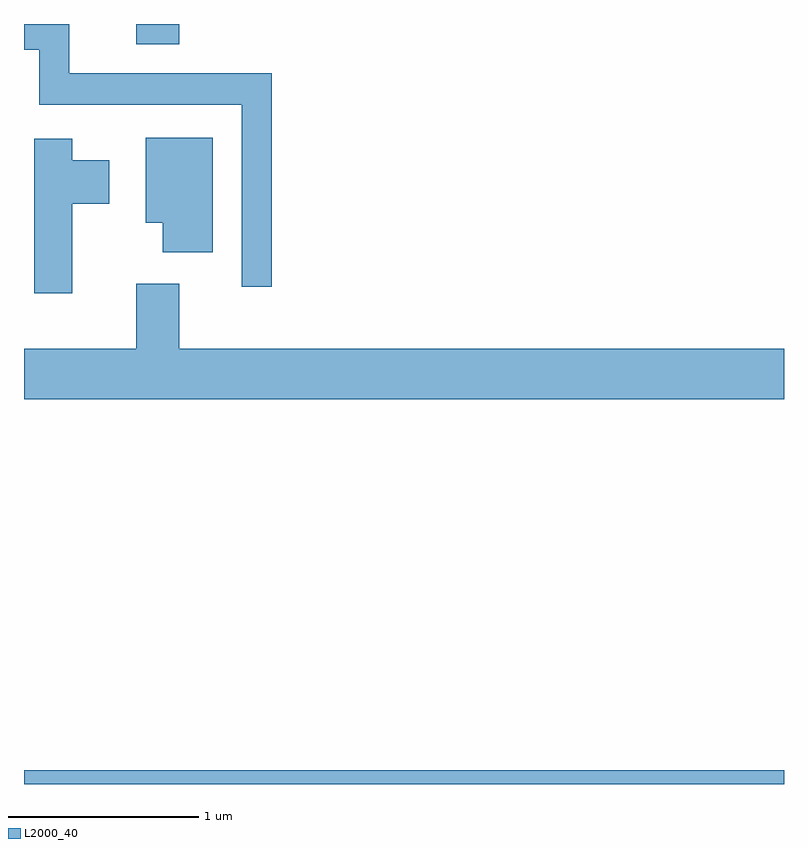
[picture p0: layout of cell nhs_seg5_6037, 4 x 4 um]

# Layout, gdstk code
import gdstk
lib = gdstk.Library(unit=1e-6, precision=1e-09)
def R(c, l, rs):  # rectangles x0, y0, x1, y1
    for r in rs: c.add(gdstk.rectangle(r[:2], r[2:], *l))
def P(c, l, *ps):  # polygons
    for p in ps: c.add(gdstk.Polygon(p, *l))
L2000_40 = (2000, 40)

nhs_seg5_6037 = lib.new_cell('nhs_seg5_6037')
R(nhs_seg5_6037, L2000_40, [(363.611,1488.072,367.611,1488.144), (364.201,1491.966,364.429,1492.072)])
P(nhs_seg5_6037, L2000_40, [(364.914,1491.814),(363.849,1491.814),(363.849,1492.072),(363.611,1492.072),(363.611,1491.936),(363.691,1491.936),(363.691,1491.646),(364.756,1491.646),(364.756,1490.688),(364.914,1490.688)],
  [(364.604,1491.474),(364.251,1491.474),(364.251,1491.026),(364.341,1491.026),(364.341,1490.871),(364.604,1490.871)],
  [(363.864,1491.126),(364.059,1491.126),(364.059,1491.354),(363.864,1491.354),(363.864,1491.469),(363.666,1491.469),(363.666,1490.656),(363.864,1490.656)],
  [(367.611,1490.364),(364.429,1490.364),(364.429,1490.704),(364.201,1490.704),(364.201,1490.364),(363.611,1490.364),(363.611,1490.096),(367.611,1490.096)])

lib.write_gds('nhs_seg5_6037.gds')
